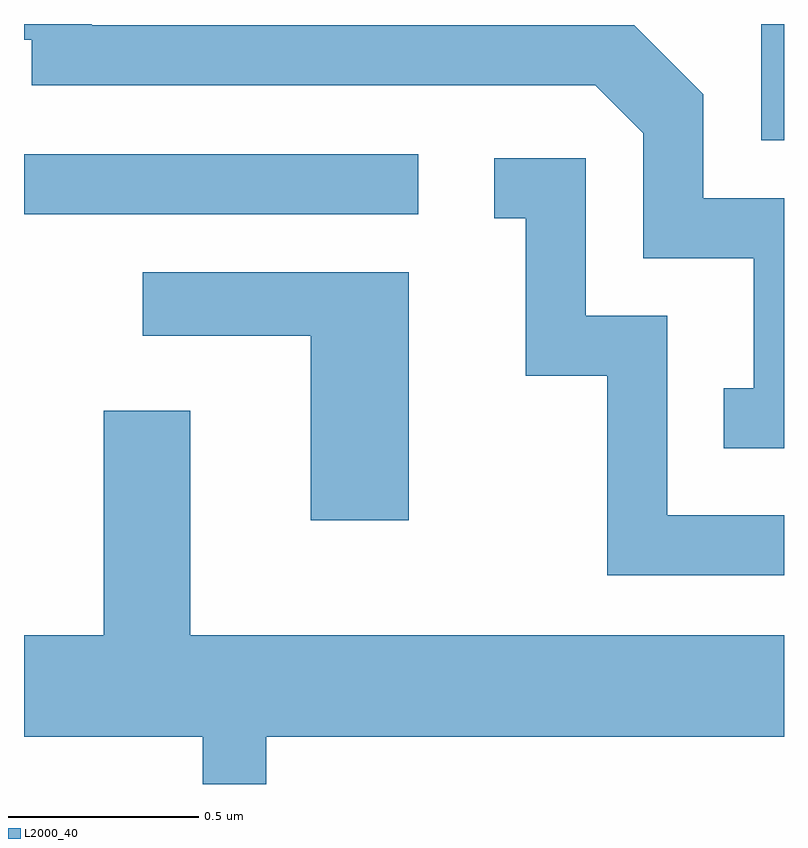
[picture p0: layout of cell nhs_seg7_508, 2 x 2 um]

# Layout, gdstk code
import gdstk
lib = gdstk.Library(unit=1e-6, precision=1e-09)
def R(c, l, rs):  # rectangles x0, y0, x1, y1
    for r in rs: c.add(gdstk.rectangle(r[:2], r[2:], *l))
def P(c, l, *ps):  # polygons
    for p in ps: c.add(gdstk.Polygon(p, *l))
L2000_40 = (2000, 40)

nhs_seg7_508 = lib.new_cell('nhs_seg7_508')
R(nhs_seg7_508, L2000_40, [(188.611,1766.751,189.648,1766.909), (190.551,1766.946,190.611,1767.252)])
P(nhs_seg7_508, L2000_40, [(190.611,1766.794),(190.399,1766.794),(190.399,1767.067),(190.217,1767.249),(188.789,1767.249),(188.789,1767.252),(188.611,1767.252),(188.611,1767.211),(188.631,1767.211),(188.631,1767.091),(190.114,1767.091),(190.241,1766.964),(190.241,1766.636),(190.531,1766.636),(190.531,1766.294),(190.453,1766.294),(190.453,1766.136),(190.611,1766.136)],
  [(190.611,1765.959),(190.304,1765.959),(190.304,1766.484),(190.089,1766.484),(190.089,1766.899),(189.848,1766.899),(189.848,1766.741),(189.931,1766.741),(189.931,1766.326),(190.146,1766.326),(190.146,1765.801),(190.611,1765.801)],
  [(189.624,1766.599),(188.923,1766.599),(188.923,1766.431),(189.366,1766.431),(189.366,1765.946),(189.624,1765.946)],
  [(189.249,1765.376),(190.611,1765.376),(190.611,1765.644),(189.049,1765.644),(189.049,1766.234),(188.821,1766.234),(188.821,1765.644),(188.611,1765.644),(188.611,1765.376),(189.081,1765.376),(189.081,1765.252),(189.249,1765.252)])

lib.write_gds('nhs_seg7_508.gds')
